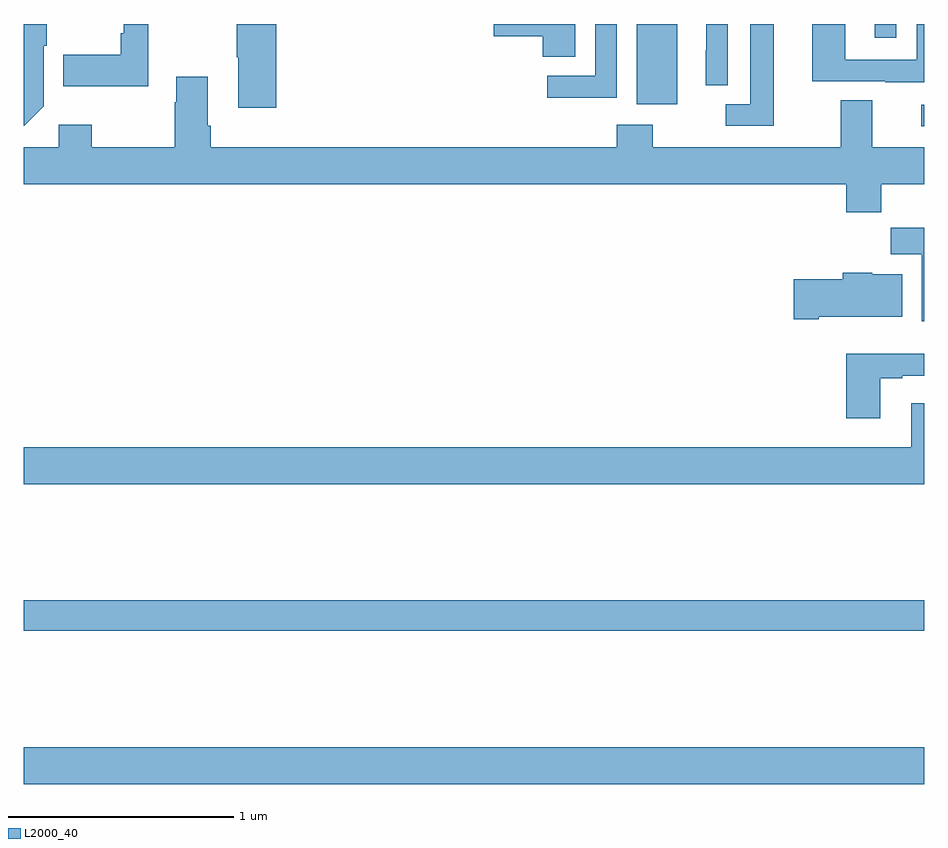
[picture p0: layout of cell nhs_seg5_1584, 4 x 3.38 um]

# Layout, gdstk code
import gdstk
lib = gdstk.Library(unit=1e-6, precision=1e-09)
def R(c, l, rs):  # rectangles x0, y0, x1, y1
    for r in rs: c.add(gdstk.rectangle(r[:2], r[2:], *l))
def P(c, l, *ps):  # polygons
    for p in ps: c.add(gdstk.Polygon(p, *l))
L2000_40 = (2000, 40)

nhs_seg5_1584 = lib.new_cell('nhs_seg5_1584')
R(nhs_seg5_1584, L2000_40, [(207,859.424,211,859.588), (207,860.104,211,860.24), (210.987,862.344,211,862.44), (209.723,862.442,209.902,862.799), (210.779,862.737,210.876,862.799)])
P(nhs_seg5_1584, L2000_40, [(209.449,862.799),(209.088,862.799),(209.088,862.745),(209.306,862.745),(209.306,862.654),(209.449,862.654)],
  [(210.331,862.799),(210.227,862.799),(210.227,862.443),(210.117,862.443),(210.117,862.347),(210.331,862.347)],
  [(210.126,862.799),(210.032,862.799),(210.032,862.682),(210.03,862.682),(210.03,862.528),(210.126,862.528)],
  [(209.634,862.799),(209.538,862.799),(209.538,862.569),(209.325,862.569),(209.325,862.471),(209.634,862.471)],
  [(211,862.799),(210.966,862.799),(210.966,862.641),(210.648,862.641),(210.648,862.799),(210.503,862.799),(210.503,862.545),(210.827,862.545),(210.827,862.541),(211,862.541)],
  [(208.121,862.799),(207.946,862.799),(207.946,862.651),(207.953,862.651),(207.953,862.428),(208.121,862.428)],
  [(207.09,862.434),(207.09,862.703),(207.103,862.703),(207.103,862.799),(207,862.799),(207,862.347),(207.003,862.347)],
  [(207.553,862.799),(207.444,862.799),(207.444,862.759),(207.432,862.759),(207.432,862.663),(207.175,862.663),(207.175,862.523),(207.553,862.523)],
  [(210.629,862.252),(209.793,862.252),(209.793,862.351),(209.633,862.351),(209.633,862.252),(207.83,862.252),(207.83,862.348),(207.817,862.348),(207.817,862.564),(207.677,862.564),(207.677,862.451),(207.67,862.451),(207.67,862.252),(207.303,862.252),(207.303,862.351),(207.156,862.351),(207.156,862.252),(207,862.252),(207,862.088),(210.653,862.088),(210.653,861.964),(210.809,861.964),(210.809,862.088),(211,862.088),(211,862.252),(210.769,862.252),(210.769,862.46),(210.629,862.46)],
  [(211,861.895),(210.85,861.895),(210.85,861.776),(210.989,861.776),(210.989,861.48),(211,861.48)],
  [(210.532,861.5),(210.901,861.5),(210.901,861.688),(210.768,861.688),(210.768,861.694),(210.638,861.694),(210.638,861.666),(210.42,861.666),(210.42,861.488),(210.532,861.488)],
  [(210.805,861.225),(210.901,861.225),(210.901,861.237),(211,861.237),(211,861.334),(210.653,861.334),(210.653,861.048),(210.805,861.048)],
  [(211,861.115),(210.941,861.115),(210.941,860.92),(207,860.92),(207,860.756),(211,860.756)])

lib.write_gds('nhs_seg5_1584.gds')
